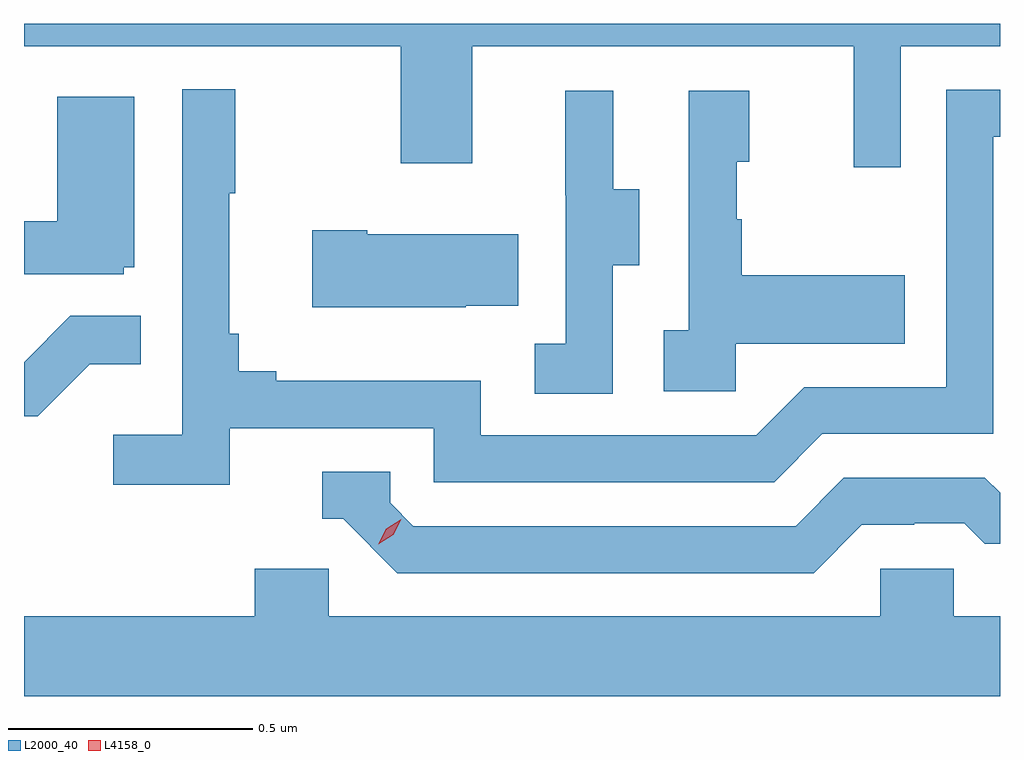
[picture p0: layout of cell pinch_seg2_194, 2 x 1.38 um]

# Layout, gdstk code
import gdstk
lib = gdstk.Library(unit=1e-6, precision=1e-09)
def P(c, l, *ps):  # polygons
    for p in ps: c.add(gdstk.Polygon(p, *l))
L2000_40 = (2000, 40)
L4158_0 = (4158, 0)

pinch_seg2_194 = lib.new_cell('pinch_seg2_194')
P(pinch_seg2_194, L2000_40, [(1131.663,643.64),(1131.866,643.64),(1131.866,643.687),(1129.866,643.687),(1129.866,643.64),(1130.638,643.64),(1130.638,643.401),(1130.785,643.401),(1130.785,643.64),(1131.566,643.64),(1131.566,643.392),(1131.663,643.392)],
  [(1130.288,642.858),(1130.706,642.858),(1130.706,642.747),(1131.403,642.747),(1131.502,642.846),(1131.852,642.846),(1131.852,643.455),(1131.866,643.455),(1131.866,643.551),(1131.756,643.551),(1131.756,642.942),(1131.465,642.942),(1131.366,642.843),(1130.802,642.843),(1130.802,642.955),(1130.383,642.955),(1130.383,642.974),(1130.306,642.974),(1130.306,643.051),(1130.287,643.051),(1130.287,643.339),(1130.299,643.339),(1130.299,643.552),(1130.19,643.552),(1130.19,642.844),(1130.049,642.844),(1130.049,642.742),(1130.288,642.742)],
  [(1131.324,643.031),(1131.671,643.031),(1131.671,643.171),(1131.337,643.171),(1131.337,643.286),(1131.327,643.286),(1131.327,643.404),(1131.352,643.404),(1131.352,643.549),(1131.228,643.549),(1131.228,643.058),(1131.177,643.058),(1131.177,642.933),(1131.324,642.933)],
  [(1131.072,643.192),(1131.127,643.192),(1131.127,643.347),(1131.073,643.347),(1131.073,643.549),(1130.975,643.549),(1130.975,643.335),(1130.976,643.335),(1130.976,643.031),(1130.913,643.031),(1130.913,642.928),(1131.072,642.928)],
  [(1130.07,643.188),(1130.092,643.188),(1130.092,643.537),(1129.934,643.537),(1129.934,643.282),(1129.866,643.282),(1129.866,643.173),(1130.07,643.173)],
  [(1130.771,643.109),(1130.879,643.109),(1130.879,643.255),(1130.569,643.255),(1130.569,643.263),(1130.457,643.263),(1130.457,643.106),(1130.771,643.106)],
  [(1130.001,642.989),(1130.105,642.989),(1130.105,643.088),(1129.961,643.088),(1129.866,642.993),(1129.866,642.882),(1129.894,642.882)],
  [(1131.583,642.66),(1131.69,642.66),(1131.69,642.663),(1131.793,642.663),(1131.835,642.621),(1131.866,642.621),(1131.866,642.725),(1131.835,642.756),(1131.546,642.756),(1131.447,642.657),(1130.664,642.657),(1130.616,642.705),(1130.616,642.768),(1130.477,642.768),(1130.477,642.672),(1130.52,642.672),(1130.631,642.561),(1131.484,642.561)],
  [(1131.866,642.472),(1131.771,642.472),(1131.771,642.57),(1131.621,642.57),(1131.621,642.472),(1130.49,642.472),(1130.49,642.57),(1130.339,642.57),(1130.339,642.472),(1129.866,642.472),(1129.866,642.308),(1131.866,642.308)])
P(pinch_seg2_194, L4158_0, [(1130.592,642.62),(1130.592,642.62),(1130.608,642.652),(1130.639,642.671),(1130.639,642.671),(1130.639,642.671),(1130.623,642.639),(1130.592,642.62)])

lib.write_gds('pinch_seg2_194.gds')
